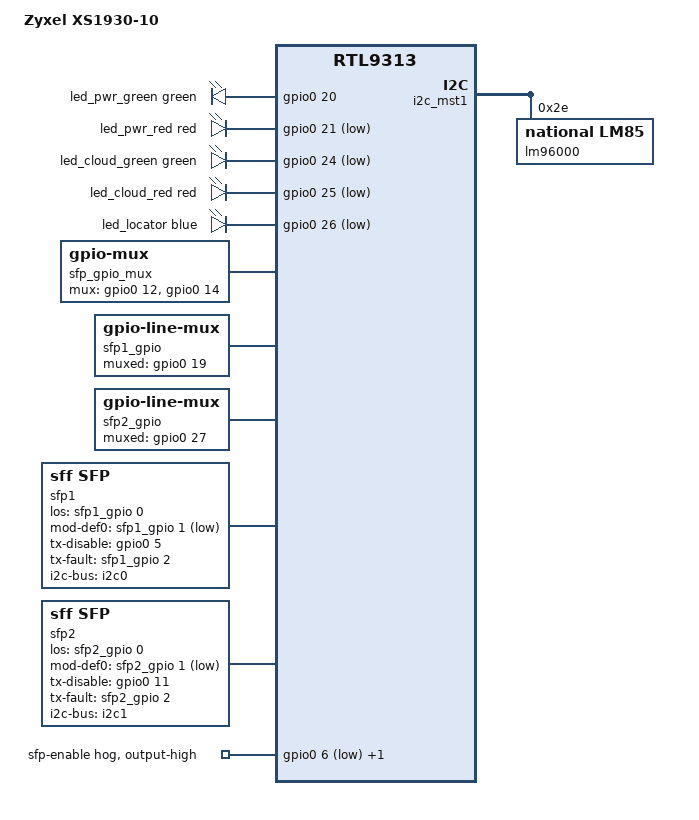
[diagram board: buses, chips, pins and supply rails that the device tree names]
// SPDX-License-Identifier: GPL-2.0-or-later
/dts-v1/;

#include "rtl9313_zyxel_xs1930.dtsi"

#include <dt-bindings/input/input.h>
#include <dt-bindings/gpio/gpio.h>
#include <dt-bindings/leds/common.h>
#include <dt-bindings/mux/mux.h>
#include <dt-bindings/phy/phy.h>

/ {
	compatible = "zyxel,xs1930-10", "realtek,rtl9313-soc";
	model = "Zyxel XS1930-10";

	leds {
		led_pwr_green: led-2 {
			color = <LED_COLOR_ID_GREEN>;
			function = LED_FUNCTION_POWER;
			gpios = <&gpio0 20 GPIO_ACTIVE_HIGH>;
			default-state = "on";
		};
		led_pwr_red: led-3 {
			color = <LED_COLOR_ID_RED>;
			function = LED_FUNCTION_POWER;
			gpios = <&gpio0 21 GPIO_ACTIVE_LOW>;
		};
		led_cloud_green: led-4 {
			color = <LED_COLOR_ID_GREEN>;
			gpios = <&gpio0 24 GPIO_ACTIVE_LOW>;
		};
		led_cloud_red: led-5 {
			color = <LED_COLOR_ID_RED>;
			gpios = <&gpio0 25 GPIO_ACTIVE_LOW>;
		};
		led_locator: led-6 {
			color = <LED_COLOR_ID_BLUE>;
			function = LED_FUNCTION_INDICATOR;
			gpios = <&gpio0 26 GPIO_ACTIVE_LOW>;
		};
	};

	led_set: led_set@0 {
		compatible = "realtek,rtl9300-leds";
		active-low;

		/* Blue | Green | Red */
		led_set0 = <(RTL93XX_LED_SET_10G | RTL93XX_LED_SET_5G | RTL93XX_LED_SET_2P5G |
			     RTL93XX_LED_SET_LINK | RTL93XX_LED_SET_ACT)
			    (RTL93XX_LED_SET_2P5G | RTL93XX_LED_SET_1G | RTL93XX_LED_SET_100M |
			     RTL93XX_LED_SET_LINK | RTL93XX_LED_SET_ACT)
			    (RTL93XX_LED_SET_5G | RTL93XX_LED_SET_100M | RTL93XX_LED_SET_LINK |
			     RTL93XX_LED_SET_ACT)>;

		realtek,led-set0-force-port-mask = <0x00300000 0x00000000>;
	};

	sfp_gpio_mux: gpio-mux {
		compatible = "gpio-mux";
		mux-gpios = <&gpio0 12 GPIO_ACTIVE_HIGH>,
			    <&gpio0 14 GPIO_ACTIVE_HIGH>;
		#mux-control-cells = <0>;
		idle-state = <MUX_IDLE_AS_IS>;
	};

	sfp1_gpio: sfp-gpio-1 {
		compatible = "gpio-line-mux";
		gpio-controller;
		#gpio-cells = <2>;

		mux-controls = <&sfp_gpio_mux>;
		muxed-gpio = <&gpio0 19 GPIO_ACTIVE_HIGH>;

		gpio-line-names = "SFP1_LOS", "SFP1_MOD_ABS", "SFP1_TX_FAULT";
		gpio-line-mux-states = <0>, <1>, <3>;
	};

	sfp2_gpio: sfp-gpio-2 {
		compatible = "gpio-line-mux";
		gpio-controller;
		#gpio-cells = <2>;

		mux-controls = <&sfp_gpio_mux>;
		muxed-gpio = <&gpio0 27 GPIO_ACTIVE_HIGH>;

		gpio-line-names = "SFP2_LOS", "SFP2_MOD_ABS", "SFP2_TX_FAULT";
		gpio-line-mux-states = <0>, <1>, <3>;
	};

	sfp1: sfp-p1 {
		compatible = "sff,sfp";
		i2c-bus = <&i2c0>;
		los-gpio = <&sfp1_gpio 0 GPIO_ACTIVE_HIGH>;
		mod-def0-gpio = <&sfp1_gpio 1 GPIO_ACTIVE_LOW>;
		tx-disable-gpio = <&gpio0 5 GPIO_ACTIVE_HIGH>;
		tx-fault-gpio = <&sfp1_gpio 2 GPIO_ACTIVE_HIGH>;
	};

	sfp2: sfp-p2 {
		compatible = "sff,sfp";
		i2c-bus = <&i2c1>;
		los-gpio = <&sfp2_gpio 0 GPIO_ACTIVE_HIGH>;
		mod-def0-gpio = <&sfp2_gpio 1 GPIO_ACTIVE_LOW>;
		tx-disable-gpio = <&gpio0 11 GPIO_ACTIVE_HIGH>;
		tx-fault-gpio = <&sfp2_gpio 2 GPIO_ACTIVE_HIGH>;
	};
};

&gpio0 {
	pinctrl-names = "default";
	pinctrl-0 = <&pinmux_disable_jtag>;

	sfp_enable_hog {
		gpio-hog;
		gpios = <6 GPIO_ACTIVE_LOW>,
			<7 GPIO_ACTIVE_LOW>;
		output-high;
		line-name = "sfp-enable";
	};
};

&i2c_mst1 {
	status = "okay";

	i2c0: i2c@0 {
		reg = <0>;
	};
	i2c1: i2c@1 {
		reg = <1>;
	};

	i2c2: i2c@2 {
		reg = <2>;

		lm96000: lm96000@2e {
			compatible = "national,lm85";
			reg = <0x2e>;
		};
	};
};

&mdio_ctrl {
	pinctrl-names = "default";
	pinctrl-0 = <&pinmux_enable_mdc_mdio_0>;
};

&mdio_bus0 {
	/* External Aquantia AQR813 */
	PHY_C45(0, 8)
	PHY_C45(8, 9)
	PHY_C45(16, 10)
	PHY_C45(24, 11)
	PHY_C45(32, 12)
	PHY_C45(40, 13)
	PHY_C45(48, 14)
	PHY_C45(50, 15)
};

&switch0 {
	ethernet-ports {
		#address-cells = <1>;
		#size-cells = <0>;

		/* Copper ports behind AQR813 */
		SWITCH_PORT_LED(0, 1, 2, 0, usxgmii)
		SWITCH_PORT_LED(8, 2, 3, 0, usxgmii)
		SWITCH_PORT_LED(16, 3, 4, 0, usxgmii)
		SWITCH_PORT_LED(24, 4, 5, 0, usxgmii)
		SWITCH_PORT_LED(32, 5, 6, 0, usxgmii)
		SWITCH_PORT_LED(40, 6, 7, 0, usxgmii)
		SWITCH_PORT_LED(48, 7, 8, 0, usxgmii)
		SWITCH_PORT_LED(50, 8, 9, 0, usxgmii)

		/* SFP+ ports */
		SWITCH_PORT_SFP(54, 9, 12, 0, 1)
		SWITCH_PORT_SFP(55, 10, 13, 0, 2)

		/* CPU port */
		port@56 {
			reg = <56>;
			ethernet = <&ethernet0>;
			phy-mode = "internal";
			fixed-link {
				speed = <1000>;
				full-duplex;
			};
		};
	};
};

&port0 {
	managed = "in-band-status";
};

&port8 {
	managed = "in-band-status";
};

&port16 {
	managed = "in-band-status";
};

&port24 {
	managed = "in-band-status";
};

&port32 {
	managed = "in-band-status";
};

&port40 {
	managed = "in-band-status";
};

&port48 {
	managed = "in-band-status";
};

&port50 {
	managed = "in-band-status";
};

&serdes6 {
	rx-polarity = <PHY_POL_INVERT>;
	tx-polarity = <PHY_POL_INVERT>;
};

&serdes7 {
	rx-polarity = <PHY_POL_INVERT>;
	tx-polarity = <PHY_POL_INVERT>;
};

&serdes8 {
	rx-polarity = <PHY_POL_INVERT>;
	tx-polarity = <PHY_POL_INVERT>;
};

&serdes9 {
	rx-polarity = <PHY_POL_INVERT>;
	tx-polarity = <PHY_POL_INVERT>;
};

&serdes12 {
	tx-polarity = <PHY_POL_INVERT>;
};

&serdes13 {
	tx-polarity = <PHY_POL_INVERT>;
};
